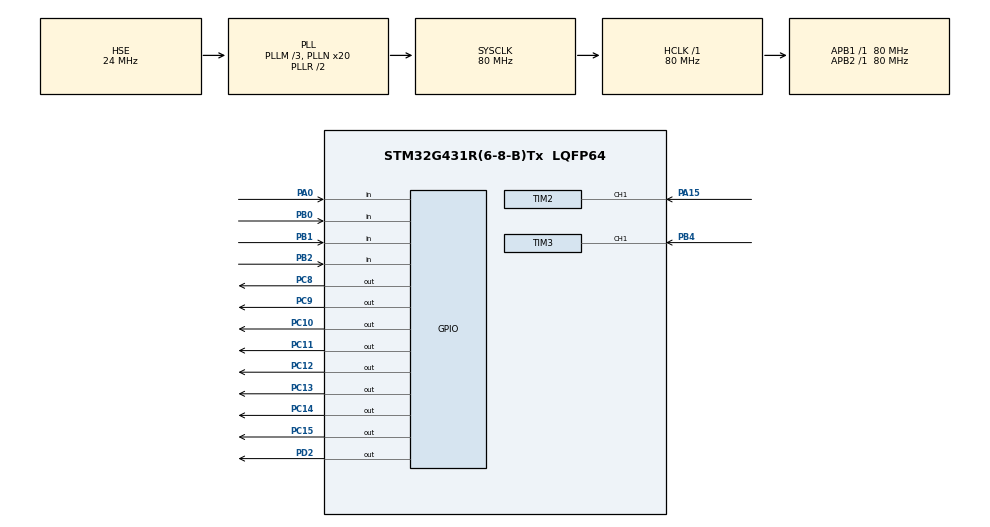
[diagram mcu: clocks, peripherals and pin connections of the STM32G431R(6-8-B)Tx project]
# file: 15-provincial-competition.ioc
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Mcu.Family=STM32G4
Mcu.Name=STM32G431R(6-8-B)Tx
Mcu.Package=LQFP64
NVIC.PriorityGroup=NVIC_PRIORITYGROUP_4
NVIC.TIM2_IRQn=true\:0\:0\:false\:false\:true\:true\:true\:true
NVIC.TIM3_IRQn=true\:0\:0\:false\:false\:true\:true\:true\:true
NVIC.TIM8_UP_IRQn=true\:0\:0\:false\:false\:true\:true\:true\:true
PA0.GPIO_Mode=GPIO_MODE_INPUT
PA0.GPIO_PuPd=GPIO_PULLUP
PA0.Signal=GPIO_Input
PA15.Signal=S_TIM2_CH1
PB0.GPIO_Mode=GPIO_MODE_INPUT
PB0.GPIO_PuPd=GPIO_PULLUP
PB0.Signal=GPIO_Input
PB1.GPIO_Mode=GPIO_MODE_INPUT
PB1.GPIO_PuPd=GPIO_PULLUP
PB1.Signal=GPIO_Input
PB2.GPIO_Mode=GPIO_MODE_INPUT
PB2.GPIO_PuPd=GPIO_PULLUP
PB2.Signal=GPIO_Input
PB4.Signal=S_TIM3_CH1
PC10.PinState=GPIO_PIN_SET
PC10.Signal=GPIO_Output
PC11.PinState=GPIO_PIN_SET
PC11.Signal=GPIO_Output
PC12.PinState=GPIO_PIN_SET
PC12.Signal=GPIO_Output
PC13.PinState=GPIO_PIN_SET
PC13.Signal=GPIO_Output
PC14-OSC32_IN.PinState=GPIO_PIN_SET
PC14-OSC32_IN.Signal=GPIO_Output
PC15-OSC32_OUT.PinState=GPIO_PIN_SET
PC15-OSC32_OUT.Signal=GPIO_Output
PC8.PinState=GPIO_PIN_SET
PC8.Signal=GPIO_Output
PC9.PinState=GPIO_PIN_SET
PC9.Signal=GPIO_Output
PD2.Signal=GPIO_Output
PF0-OSC_IN.Mode=HSE-External-Oscillator
PF0-OSC_IN.Signal=RCC_OSC_IN
PF1-OSC_OUT.Mode=HSE-External-Oscillator
PF1-OSC_OUT.Signal=RCC_OSC_OUT
ProjectManager.HeapSize=0x200
ProjectManager.StackSize=0x400
ProjectManager.TargetToolchain=MDK-ARM V5.32
RCC.ADC12Freq_Value=80000000
RCC.AHBFreq_Value=80000000
RCC.APB1Freq_Value=80000000
RCC.APB1TimFreq_Value=80000000
RCC.APB2Freq_Value=80000000
RCC.APB2TimFreq_Value=80000000
RCC.CortexFreq_Value=80000000
RCC.EXTERNAL_CLOCK_VALUE=12288000
RCC.HCLKFreq_Value=80000000
RCC.HSE_VALUE=24000000
RCC.HSI48_VALUE=48000000
RCC.HSI_VALUE=16000000
RCC.LSE_VALUE=32768
RCC.PLLM=RCC_PLLM_DIV3
RCC.PLLN=20
RCC.PLLSourceVirtual=RCC_PLLSOURCE_HSE
RCC.SYSCLKFreq_VALUE=80000000
RCC.SYSCLKSource=RCC_SYSCLKSOURCE_PLLCLK
RCC.USBFreq_Value=80000000
RCC.VCOOutputFreq_Value=160000000
SH.S_TIM2_CH1.0=TIM2_CH1,Input_Capture1_from_TI1
SH.S_TIM3_CH1.0=TIM3_CH1,Input_Capture1_from_TI1
TIM2.Channel-Input_Capture1_from_TI1=TIM_CHANNEL_1
TIM2.Prescaler=80-1
TIM3.Channel-Input_Capture1_from_TI1=TIM_CHANNEL_1
TIM3.Prescaler=80-1
TIM4.Prescaler=8000-1
TIM8.PeriodNoDither=1000-1
TIM8.Prescaler=8000-1
VP_SYS_VS_DBSignals.Mode=DisableDeadBatterySignals
VP_TIM4_VS_ClockSourceINT.Mode=Internal
VP_TIM8_VS_ClockSourceINT.Mode=Internal
board=custom

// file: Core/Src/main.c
/* USER CODE BEGIN Header */
/**
  ******************************************************************************
  * @file           : main.c
  * @brief          : Main program body
  ******************************************************************************
  * @attention
  *
  * Copyright (c) 2025 STMicroelectronics.
  * All rights reserved.
  *
  * This software is licensed under terms that can be found in the LICENSE file
  * in the root directory of this software component.
  * If no LICENSE file comes with this software, it is provided AS-IS.
  *
  ******************************************************************************
  */
/* USER CODE END Header */
#include "main.h"
#include "tim.h"
#include "gpio.h"

/* USER CODE BEGIN Includes */
#include "string.h"
#include "stdint.h"
#include "stdio.h"
#include "lcd.h"
#include "stdlib.h"
/* USER CODE END Includes */

/* USER CODE BEGIN PV */
char text[20];
uint8_t page, mini_page, nda, ndb, nha, nhb, line, lowa_flag, lowb_flag;
uint16_t ta, tb, pd=1000, ph=5000;
int px, fa, fb;
uint8_t key_val,key_up,key_down,key_last_val;
uint8_t long_flag=0, rear=0;  // ����β��
int num_a[30] = {0}, num_b[30] = {0};
/* USER CODE END PV */

void SystemClock_Config(void);
/* USER CODE BEGIN PFP */
void LCD_Proc(void);
void KEY_Proc(void);
void LED_Proc(void);
void DH(void);
/* USER CODE END PFP */

int main(void)
{

  /* MCU Configuration--------------------------------------------------------*/

  /* Reset of all peripherals, Initializes the Flash interface and the Systick. */
  HAL_Init();

  /* Configure the system clock */
  SystemClock_Config();

  /* Initialize all configured peripherals */
  MX_GPIO_Init();
  MX_TIM2_Init();
  MX_TIM3_Init();
  MX_TIM4_Init();
  MX_TIM8_Init();
  /* USER CODE BEGIN 2 */
    LCD_Init();
    LCD_Clear(Black);
    LCD_SetBackColor(Black);
    LCD_SetTextColor(White);
    HAL_TIM_IC_Start_IT(&htim2, TIM_CHANNEL_1);
    HAL_TIM_IC_Start_IT(&htim3, TIM_CHANNEL_1);
    TIM4->CNT=0;
    HAL_TIM_Base_Start(&htim4);
    if(fa<ph) lowa_flag=1;
    if(fb<ph) lowb_flag=1;
    TIM8->CNT=0;
    HAL_TIM_Base_Start_IT(&htim8);
  /* USER CODE END 2 */

  /* Infinite loop */
  /* USER CODE BEGIN WHILE */
  while (1)
  {
      LCD_Proc();
      KEY_Proc();
      if(lowa_flag && fa > ph){
          lowa_flag=0;
          nha++;
      }
      if(fa < ph) lowa_flag=1;
      if(lowb_flag && fb > ph){
          lowb_flag=0;
          nhb++;
      }
      if(fb < ph) lowb_flag=1;
      LED_Proc();
      DH();
    /* USER CODE END WHILE */

  }
}

void SystemClock_Config(void)
{
  RCC_OscInitTypeDef RCC_OscInitStruct = {0};
  RCC_ClkInitTypeDef RCC_ClkInitStruct = {0};

  /** Configure the main internal regulator output voltage
  */
  HAL_PWREx_ControlVoltageScaling(PWR_REGULATOR_VOLTAGE_SCALE1);

  /** Initializes the RCC Oscillators according to the specified parameters
  * in the RCC_OscInitTypeDef structure.
  */
  RCC_OscInitStruct.OscillatorType = RCC_OSCILLATORTYPE_HSE;
  RCC_OscInitStruct.HSEState = RCC_HSE_ON;
  RCC_OscInitStruct.PLL.PLLState = RCC_PLL_ON;
  RCC_OscInitStruct.PLL.PLLSource = RCC_PLLSOURCE_HSE;
  RCC_OscInitStruct.PLL.PLLM = RCC_PLLM_DIV3;
  RCC_OscInitStruct.PLL.PLLN = 20;
  RCC_OscInitStruct.PLL.PLLP = RCC_PLLP_DIV2;
  RCC_OscInitStruct.PLL.PLLQ = RCC_PLLQ_DIV2;
  RCC_OscInitStruct.PLL.PLLR = RCC_PLLR_DIV2;
  if (HAL_RCC_OscConfig(&RCC_OscInitStruct) != HAL_OK)
  {
    Error_Handler();
  }

  /** Initializes the CPU, AHB and APB buses clocks
  */
  RCC_ClkInitStruct.ClockType = RCC_CLOCKTYPE_HCLK|RCC_CLOCKTYPE_SYSCLK
                              |RCC_CLOCKTYPE_PCLK1|RCC_CLOCKTYPE_PCLK2;
  RCC_ClkInitStruct.SYSCLKSource = RCC_SYSCLKSOURCE_PLLCLK;
  RCC_ClkInitStruct.AHBCLKDivider = RCC_SYSCLK_DIV1;
  RCC_ClkInitStruct.APB1CLKDivider = RCC_HCLK_DIV1;
  RCC_ClkInitStruct.APB2CLKDivider = RCC_HCLK_DIV1;

  if (HAL_RCC_ClockConfig(&RCC_ClkInitStruct, FLASH_LATENCY_2) != HAL_OK)
  {
    Error_Handler();
  }
}

/* USER CODE BEGIN 4 */
void LCD_Proc(void){
    if(page==0){
        if(mini_page==0){
            sprintf(text, "        DATA        ");
            LCD_DisplayStringLine(Line1, (uint8_t*)text);
            if(fa>0){
                if(fa<=1000) sprintf(text, "     A=%dHz       ", fa);
                else if(fa>1000) sprintf(text, "     A=%.2fKHz", fa*1.0/1000);
            }else{
                sprintf(text, "     A=NULL         ");
            }
            LCD_DisplayStringLine(Line3, (uint8_t*)text);
            if(fb>0){
                if(fb<=1000) sprintf(text, "     B=%dHz       ", fb);
                else if(fb>1000) sprintf(text, "     B=%.2fKHz", fb*1.0/1000);
            }else{
                sprintf(text, "     B=NULL         ");
            }
            LCD_DisplayStringLine(Line4, (uint8_t*)text);
        }else{
            sprintf(text, "        DATA        ");
            LCD_DisplayStringLine(Line1, (uint8_t*)text);
            if(fa>0){
                ta = (1.0/fa)*1000000;
                if(ta<=1000) sprintf(text, "     A=%duS       ", ta);
                else sprintf(text, "     A=%.2fmS", ta*1.0/1000);
            }else{
                sprintf(text, "     A=NULL         ");
            }
            LCD_DisplayStringLine(Line3, (uint8_t*)text);
            if(fb>0){
                tb = (1.0/fb)*1000000;
                if(tb<=1000) sprintf(text, "     B=%duS       ", tb);
                else sprintf(text, "     B=%.2fmS", tb*1.0/1000);
            }else{
                sprintf(text, "     B=NULL         ");
            }
            LCD_DisplayStringLine(Line4, (uint8_t*)text);
        }
        line=0;
    }else if(page==1){
        sprintf(text, "        PARA        ");
        LCD_DisplayStringLine(Line1, (uint8_t*)text);
        sprintf(text, "     PD=%dHz      ", pd);
        LCD_DisplayStringLine(Line3, (uint8_t*)text);
        sprintf(text, "     PH=%dHz     ", ph);
        LCD_DisplayStringLine(Line4, (uint8_t*)text);
        sprintf(text, "     PX=%dHz     ", px);
        LCD_DisplayStringLine(Line5, (uint8_t*)text);
    }else{
        sprintf(text, "        RECD        ");
        LCD_DisplayStringLine(Line1, (uint8_t*)text);
        sprintf(text, "     NDA=%d      ", nda);
        LCD_DisplayStringLine(Line3, (uint8_t*)text);
        sprintf(text, "     NDB=%d        ", ndb);
        LCD_DisplayStringLine(Line4, (uint8_t*)text);
        sprintf(text, "     NHA=%d        ", nha);
        LCD_DisplayStringLine(Line5, (uint8_t*)text);
        sprintf(text, "     NHB=%d        ", nhb);
        LCD_DisplayStringLine(Line6, (uint8_t*)text);
        mini_page=0;
    }
}
uint8_t KEY_Scan(void){
    uint8_t key_value=0;
    if(HAL_GPIO_ReadPin(GPIOB, GPIO_PIN_0)==GPIO_PIN_RESET){
        key_value=1;
    }
    if(HAL_GPIO_ReadPin(GPIOB, GPIO_PIN_1)==GPIO_PIN_RESET){
        key_value=2;
    }
    if(HAL_GPIO_ReadPin(GPIOB, GPIO_PIN_2)==GPIO_PIN_RESET){
        key_value=3;
    }
    if(HAL_GPIO_ReadPin(GPIOA, GPIO_PIN_0)==GPIO_PIN_RESET){
        key_value=4;
    }
    return key_value;
}
void KEY_Proc(void){
    key_val=KEY_Scan();
    key_down=key_val&(key_val^key_last_val);
    key_up=~key_val&(key_val^key_last_val);
    key_last_val=key_val;
    if(key_down==1 && page==1){
        if(line==0){
            pd+=100;
            if(pd>1000) pd=1000;
        }
        if(line==1){
            ph+=100;
            if(ph>10000) ph=10000;
        }
        if(line==2){
            px+=100;
            if(px>1000) px=1000;
        }
    }
    if(key_down==2 && page==1){
        if(line==0){
            pd-=100;
            if(pd<100) pd=100;
        }
        if(line==1){
            ph-=100;
            if(ph<1000) ph=1000;
        }
        if(line==2){
            px-=100;
            if(px<-1000) px=-1000;
        }
    }
    if(page==1){
        if(key_down==3){
            line++;
            line%=3;
        }
    }
    if(page==0){
        if(key_down==3){
            mini_page^=1;
        }
    }
    if(page==2){
        if(key_down==3){
            TIM4->CNT=0;
        }
        if(key_val==3 && long_flag==0){
            if(TIM4->CNT>=10000-1){
                long_flag=1;
            }
        }
        if(long_flag && key_up==3){
            long_flag=0;
            nha=nhb=nda=ndb=0;
        }
    }
    if(key_down==4){
        page++;
        page%=3;
        LCD_Clear(Black);
    }
}
void LED_Show(uint8_t led, uint8_t mode){
    if(mode){
        HAL_GPIO_WritePin(GPIOC, led<<8, GPIO_PIN_RESET);
        HAL_GPIO_WritePin(GPIOD, GPIO_PIN_2, GPIO_PIN_SET);
        HAL_GPIO_WritePin(GPIOD, GPIO_PIN_2, GPIO_PIN_RESET);
    }else{
        HAL_GPIO_WritePin(GPIOC, led<<8, GPIO_PIN_SET);
        HAL_GPIO_WritePin(GPIOD, GPIO_PIN_2, GPIO_PIN_SET);
        HAL_GPIO_WritePin(GPIOD, GPIO_PIN_2, GPIO_PIN_RESET);
    }
}
void LED_Proc(void){
    if(page==0) LED_Show(0x01, 1);
    else LED_Show(0x01, 0);
    if(fa>ph) LED_Show(0x02, 1);
    else LED_Show(0x02, 0);
    if(fb>ph) LED_Show(0x04, 1);
    else LED_Show(0x04, 0);
    if(nda>=3 || ndb>=3) LED_Show(0x80, 1);
    else LED_Show(0x80, 0);
}
void DH(void){
    if(rear==30){
        int max_a=num_a[0];
        int min_a=num_a[0];
        int max_b=num_b[0];
        int min_b=num_b[0];
        for(int i=1;i<30;i++){
            if(max_a<num_a[i]) max_a=num_a[i];
            if(min_a>num_a[i]) min_a=num_a[i];
            if(max_b<num_b[i]) max_b=num_b[i];
            if(min_b>num_b[i]) min_b=num_b[i];
        }
        if(max_a-min_a>pd) nda++;
        if(max_b-min_b>pd) ndb++;
        memset(num_a, 0, sizeof(num_a));
        memset(num_b, 0, sizeof(num_b));
        rear=0;
    }
}
void HAL_TIM_IC_CaptureCallback(TIM_HandleTypeDef *htim){
    if(htim->Instance==TIM2){
        uint32_t cap = HAL_TIM_ReadCapturedValue(htim, TIM_CHANNEL_1);
        TIM2->CNT=0;
        fa = 1000000/cap + px;
    }
    if(htim->Instance==TIM3){
        uint32_t cap = HAL_TIM_ReadCapturedValue(htim, TIM_CHANNEL_1);
        TIM3->CNT=0;
        fb = 1000000/cap + px;
    }
}
void HAL_TIM_PeriodElapsedCallback(TIM_HandleTypeDef *htim){
    if(htim->Instance==TIM8){
        num_a[rear]=fa;
        num_b[rear]=fb;
        rear++;
    }
}
/* USER CODE END 4 */

void Error_Handler(void)
{
  __disable_irq();
  while (1)
  {
  }
}
